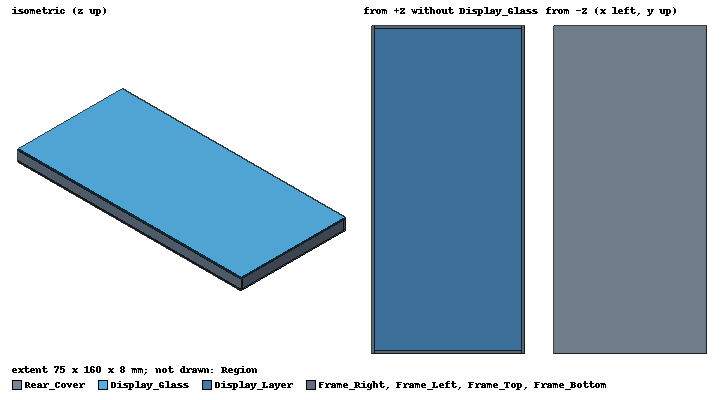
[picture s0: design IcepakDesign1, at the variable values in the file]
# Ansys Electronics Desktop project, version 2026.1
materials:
  Al-Extruded: thermal_conductivity=205 mass_density=2800 specific_heat=900 youngs_modulus=69000000000 poissons_ratio=0.33 thermal_expansion_coefficient=2.277e-06 thermal_material_type=Solid
  air: permittivity=1.0006 permeability=1.0000004 thermal_conductivity=0.0261 mass_density=1.1614 specific_heat=1005 thermal_expansion_coefficient=0.00333 thermal_material_type=Fluid diffusivity=2.88e-05 molecular_mass=0.028966 viscosity=1.84e-05 material_refractive_index=1.000293
  Phone_Aluminium: thermal_conductivity=160 mass_density=2700 specific_heat=900 thermal_material_type=Solid
  Phone_Copper: thermal_conductivity=390 mass_density=8960 specific_heat=385 thermal_material_type=Solid
  Phone_Glass: thermal_conductivity=1 mass_density=2500 specific_heat=800 thermal_material_type=Solid
  Phone_Display: thermal_conductivity=0.5 mass_density=1800 specific_heat=1000 thermal_material_type=Solid
  Phone_PCB_Effective: thermal_conductivity{anisotropic component1=15 component2=15 component3=0.35} mass_density=1900 specific_heat=1000 thermal_material_type=Solid
  Phone_Battery_Effective: thermal_conductivity{anisotropic component1=15 component2=15 component3=0.8} mass_density=2300 specific_heat=1000 thermal_material_type=Solid
  Phone_Package: thermal_conductivity=2 mass_density=1800 specific_heat=900 thermal_material_type=Solid
  Phone_Camera: thermal_conductivity=0.5 mass_density=1800 specific_heat=900 thermal_material_type=Solid
  Phone_TIM: thermal_conductivity=1.2 mass_density=1800 specific_heat=1000 thermal_material_type=Solid
  Phone_Processor_Pad: thermal_conductivity=3 mass_density=2000 specific_heat=1000 thermal_material_type=Solid
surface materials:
  Steel-oxidised-surface: surface_emissivity=0.8

design IcepakDesign1 (Icepak, SteadyState TemperatureAndFlow, model units mm)
options: Default_Fluid_Material=air Default_Solid_Material=Al-Extruded Default_Surface_Material=Steel-oxidised-surface AmbientTemperature=25cel AmbientPressure=0n_per_meter_sq AmbientRadiationTemperature=25cel Gravity_Vector_CS_ID=Global Gravity_Vector_Axis=Z Positive=false Altitude=0meter OperatingPressure=101325n_per_meter_sq OperatingDensity=1.225kg_per_m3 JouleHeatingType=0 DisableShellConductionForJouleHeating
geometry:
  Rear_Cover [Phone_Aluminium] = box(corner=(0mm, 0mm, 0mm), size=(75mm, 160mm, 0.8mm))
  Midplate [Phone_Aluminium] = box(corner=(1.5mm, 1.5mm, 0.8mm), size=(72mm, 157mm, 0.6mm))
  Frame_Left [Phone_Aluminium] = box(corner=(0mm, 0mm, 0.8mm), size=(1.5mm, 160mm, 6.4mm))
  Frame_Right [Phone_Aluminium] = box(corner=(73.5mm, 0mm, 0.8mm), size=(1.5mm, 160mm, 6.4mm))
  Frame_Bottom [Phone_Aluminium] = box(corner=(1.5mm, 0mm, 0.8mm), size=(72mm, 1.5mm, 6.4mm))
  Frame_Top [Phone_Aluminium] = box(corner=(1.5mm, 158.5mm, 0.8mm), size=(72mm, 1.5mm, 6.4mm))
  Display_Glass [Phone_Glass] = box(corner=(0mm, 0mm, 7.2mm), size=(75mm, 160mm, 0.8mm))
  Display_Layer [Phone_Display] = box(corner=(1.5mm, 1.5mm, 6.6mm), size=(72mm, 157mm, 0.6mm))
  Battery_TIM [Phone_TIM] = box(corner=(5mm, 8mm, 1.4mm), size=(65mm, 108mm, 0.5mm))
  Battery_Cell [Phone_Battery_Effective] = box(corner=(5mm, 8mm, 1.9mm), size=(65mm, 108mm, 4.2mm))
  PCB_TIM [Phone_TIM] = box(corner=(5mm, 122mm, 1.4mm), size=(65mm, 32mm, 0.2mm))
  Main_PCB [Phone_PCB_Effective] = box(corner=(5mm, 122mm, 1.6mm), size=(65mm, 32mm, 0.8mm))
  Processor_Package [Phone_Package] = box(corner=(12mm, 128mm, 2.4mm), size=(14mm, 14mm, 1mm))
  Processor_TIM [Phone_TIM] = box(corner=(12mm, 128mm, 3.4mm), size=(14mm, 14mm, 0.2mm))
  Copper_Spreader [Phone_Copper] = box(corner=(8mm, 124mm, 3.6mm), size=(22mm, 22mm, 0.3mm))
  Spreader_Display_Pad [Phone_Processor_Pad] = box(corner=(8mm, 124mm, 3.9mm), size=(22mm, 22mm, 2.7mm))
  PMIC_Package [Phone_Package] = box(corner=(36mm, 130mm, 2.4mm), size=(8mm, 8mm, 1mm))
  Memory_Package [Phone_Package] = box(corner=(46mm, 126mm, 2.4mm), size=(10mm, 10mm, 1mm))
  Camera_Module [Phone_Camera] = box(corner=(50mm, 142mm, 2.4mm), size=(12mm, 10mm, 4mm))
  Region [air] = region(absolute_offset=0mm on all sides)
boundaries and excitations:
  Heat_Display_Layer: Block Objects=Display_Layer Block_Type=Solid Use_Total_Power Total_Power=1.2W
  Heat_Battery_Cell: Block Objects=Battery_Cell Block_Type=Solid Use_Total_Power Total_Power=0.8W
  Heat_Processor_Package: Block Objects=Processor_Package Block_Type=Solid Use_Total_Power Total_Power=2.5W
  Heat_PMIC_Package: Block Objects=PMIC_Package Block_Type=Solid Use_Total_Power Total_Power=0.5W
  Heat_Memory_Package: Block Objects=Memory_Package Block_Type=Solid Use_Total_Power Total_Power=0.3W
  Heat_Camera_Module: Block Objects=Camera_Module Block_Type=Solid Use_Total_Power Total_Power=0.2W
  External_Convection: Stationary Wall Faces=Rear_Cover.face(-z, -y, -x, +y, +x) Frame_Left.face(-y, -x, +y) Frame_Right.face(-y, +y, +x) Frame_Bottom.face(-y) Frame_Top.face(+y) Display_Glass.face(+z, -y, -x, +y, +x) Thickness=0mm Solid_Material=Phone_Aluminium External_Condition="Heat Transfer Coefficient" Heat_Flux=0irrad_W_per_m2 Temperature=25cel Heat_Transfer_Coefficient=7w_per_m2kel Reference_Temperature=25cel Heat_Transfer_Data{Heat_Transfer_Convection_Type="Natural Convection"} External_Material=Steel-oxidised-surface External_Radiation_Reference_Temperature=AmbientTemp External_Radiation_View_Factor=1
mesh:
  Global:  MeshMethod=MesherHD UserSpecifiedSettings ComputeGap MaxElementSizeX=2mm MaxElementSizeY=2mm MaxElementSizeZ=0.05mm MinElementsInGap=3 MinElementsOnEdge=2 MaxSizeRatio=2 EnforeMLMType=3D MaxLevels=0 BufferLayers=0 UniformMeshParametersType=Average MinGapX=0.05mm MinGapY=0.05mm MinGapZ=0.01mm Objects=Region FacetLevel=3 ProximitySizeFunction CurvatureSizeFunction OptimizePCBMesh
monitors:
  Rear_Cover: Quantities(19) Objects=Rear_Cover
  Display_Glass: Quantities(19) Objects=Display_Glass
  Display_Layer: Quantities(19) Objects=Display_Layer
  Battery_Cell: Quantities(19) Objects=Battery_Cell
  Main_PCB: Quantities(19) Objects=Main_PCB
  Processor_Package: Quantities(19) Objects=Processor_Package
  PMIC_Package: Quantities(19) Objects=PMIC_Package
  Memory_Package: Quantities(19) Objects=Memory_Package
  Camera_Module: Quantities(19) Objects=Camera_Module
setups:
  Phone_Steady_Corrected: IcepakSteadyState Flow_Regime=Laminar Include_Temperature=true Include_Flow=false Solution_Initialization_-_Temperature=25cel Convergence_Criteria_-_Flow=0.001 Convergence_Criteria_-_Energy=1e-08 GPU_Convergence_Criteria_-_Flow=0.001 GPU_Convergence_Criteria_-_Energy=1e-05 disabled Radiation_Model=Off Under-relaxation_-_Pressure=0.3 Under-relaxation_-_Momentum=0.7 Under-relaxation_-_Temperature=1 Under-relaxation_-_Body_Force=1 Discretization_Scheme_-_Pressure=Standard Discretization_Scheme_-_Momentum=First Discretization_Scheme_-_Temperature=Second Enable_Hybrid_precision_for_GPU Partition_method=Metis Convergence_Criteria_-_Max_Iterations=1000
